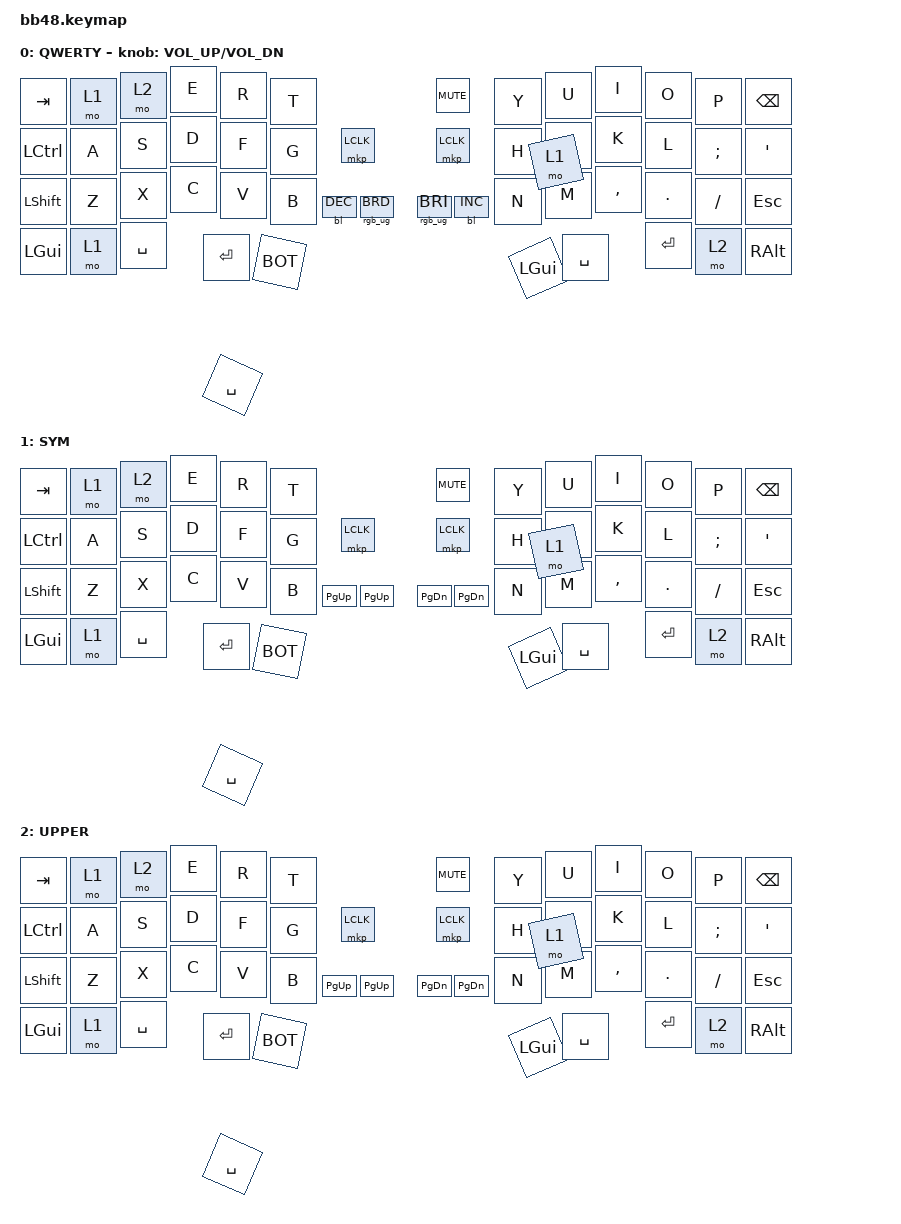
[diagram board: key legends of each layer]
/*
 * Copyright (c) 2025 ZitaoTech
 *
 * SPDX-License-Identifier: MIT
 */

#include <behaviors.dtsi>
#include <dt-bindings/zmk/keys.h>
#include <dt-bindings/zmk/bt.h>
#include <dt-bindings/zmk/outputs.h>
#include <dt-bindings/zmk/mouse.h>
#include <dt-bindings/zmk/backlight.h>
#include <dt-bindings/zmk/ext_power.h>
#include <dt-bindings/zmk/rgb.h>

#define SYM 1
#define UPPER 2
#define BOT bootloader

/ {
    behaviors {
        td0: tap_dance_0 {
            compatible = "zmk,behavior-tap-dance";
            #binding-cells = <0>;
            tapping-term-ms = <400>;
            bindings = <&mkp LCLK>, <&bt BT_CLR>;
        };
    };
    behaviors {
        hm: homerow_mods {
            compatible = "zmk,behavior-hold-tap";
            #binding-cells = <2>;
            tapping-term-ms = <500>;
            bindings = <&out &kp>;
        };
    };

    keymap {
        compatible = "zmk,keymap";

         default_layer {
            display-name = "QWERTY";
// --------------------------------------------------------------------------------
// |  TAB |  Q  |  W  |  E  |  R  |  T  |   |  Y  |  U   |  I  |  O  |  P  | BSPC |
// | CTRL |  A  |  S  |  D  |  F  |  G  |   |  H  |  J   |  K  |  L  |  ;  |  '   |
// | SHFT |  Z  |  X  |  C  |  V  |  B  |   |  N  |  M   |  ,  |  .  |  /  | ESC  |
//                    | GUI | LWR | SPC |   | ENT | RSE  | ALT |
            bindings = <
&kp TAB   &mo 1    &mo 2      &kp E   &kp R    &kp T                                     &kp C_MUTE             &kp Y &kp U  &kp I     &kp O   &kp P    &kp BSPC
&kp LCTRL &kp A    &kp S      &kp D   &kp F    &kp G   &mkp LCLK                         &mkp LCLK              &kp H &kp J  &kp K     &kp L   &kp SEMI &kp SQT
&kp LSHFT &kp Z    &kp X      &kp C   &kp V    &kp B   &rgb_ug RGB_BRD &rgb_ug RGB_BRI   &bl BL_DEC  &bl BL_INC &kp N &kp M  &kp COMMA &kp DOT &kp FSLH &kp ESC
&kp LGUI  &mo 1    &kp SPACE  &kp RET &BOT     &kp SPACE                                             &kp LGUI  &mo 1 &kp SPACE  &kp RET &mo 2 &kp RALT
            >;
            
         sensor-bindings = <&inc_dec_kp C_VOL_UP C_VOL_DN >;
        };


        sym_layer {
            display-name = "SYM";
            bindings = <
&kp TAB   &mo 1    &mo 2      &kp E   &kp R    &kp T                          &kp K_MUTE             &kp Y &kp U  &kp I     &kp O   &kp P    &kp BSPC
&kp LCTRL &kp A    &kp S      &kp D   &kp F    &kp G   &mkp LCLK              &mkp LCLK              &kp H &kp J  &kp K     &kp L   &kp SEMI &kp SQT
&kp LSHFT &kp Z    &kp X      &kp C   &kp V    &kp B   &kp PG_UP &kp PG_DN    &kp PG_UP &kp PG_DN    &kp N &kp M  &kp COMMA &kp DOT &kp FSLH &kp ESC
&kp LGUI  &mo 1    &kp SPACE  &kp RET &BOT     &kp SPACE                                             &kp LGUI  &mo 1 &kp SPACE  &kp RET &mo 2 &kp RALT
            >;
        };

        upper_layer {
            display-name = "UPPER";
            bindings = <
&kp TAB   &mo 1    &mo 2      &kp E   &kp R    &kp T                          &kp K_MUTE             &kp Y &kp U  &kp I     &kp O   &kp P    &kp BSPC
&kp LCTRL &kp A    &kp S      &kp D   &kp F    &kp G   &mkp LCLK              &mkp LCLK              &kp H &kp J  &kp K     &kp L   &kp SEMI &kp SQT
&kp LSHFT &kp Z    &kp X      &kp C   &kp V    &kp B   &kp PG_UP &kp PG_DN    &kp PG_UP &kp PG_DN    &kp N &kp M  &kp COMMA &kp DOT &kp FSLH &kp ESC
&kp LGUI  &mo 1    &kp SPACE  &kp RET &BOT     &kp SPACE                                             &kp LGUI  &mo 1 &kp SPACE  &kp RET &mo 2 &kp RALT
            >;
        };
    };
};
